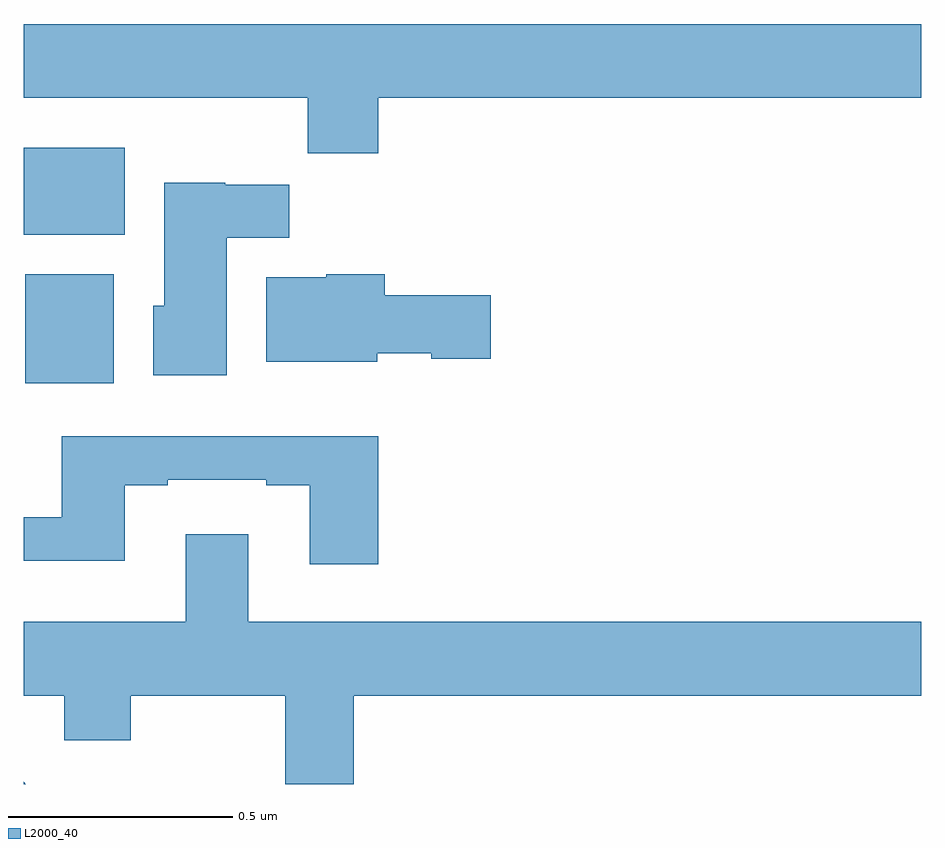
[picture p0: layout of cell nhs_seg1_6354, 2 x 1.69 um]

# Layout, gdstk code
import gdstk
lib = gdstk.Library(unit=1e-6, precision=1e-09)
def R(c, l, rs):  # rectangles x0, y0, x1, y1
    for r in rs: c.add(gdstk.rectangle(r[:2], r[2:], *l))
def P(c, l, *ps):  # polygons
    for p in ps: c.add(gdstk.Polygon(p, *l))
L2000_40 = (2000, 40)

nhs_seg1_6354 = lib.new_cell('nhs_seg1_6354')
R(nhs_seg1_6354, L2000_40, [(190.004,555.092,190.201,555.334), (190,555.422,190.225,555.616)])
P(nhs_seg1_6354, L2000_40, [(190.79,555.728),(192,555.728),(192,555.892),(190,555.892),(190,555.728),(190.633,555.728),(190.633,555.604),(190.79,555.604)],
  [(190.453,555.416),(190.592,555.416),(190.592,555.534),(190.449,555.534),(190.449,555.538),(190.313,555.538),(190.313,555.264),(190.289,555.264),(190.289,555.11),(190.453,555.11)],
  [(190.788,555.158),(190.908,555.158),(190.908,555.146),(191.041,555.146),(191.041,555.288),(190.805,555.288),(190.805,555.334),(190.674,555.334),(190.674,555.328),(190.541,555.328),(190.541,555.14),(190.788,555.14)],
  [(190.79,554.974),(190.085,554.974),(190.085,554.793),(190,554.793),(190,554.696),(190.225,554.696),(190.225,554.865),(190.321,554.865),(190.321,554.877),(190.541,554.877),(190.541,554.865),(190.637,554.865),(190.637,554.688),(190.79,554.688)],
  [(190.736,554.396),(192,554.396),(192,554.56),(190.501,554.56),(190.501,554.755),(190.361,554.755),(190.361,554.56),(190,554.56),(190,554.396),(190.091,554.396),(190.091,554.297),(190.239,554.297),(190.239,554.396),(190.583,554.396),(190.583,554.199),(190.736,554.199)],
  [(190,554.204),(190,554.199),(190.005,554.199)])

lib.write_gds('nhs_seg1_6354.gds')
